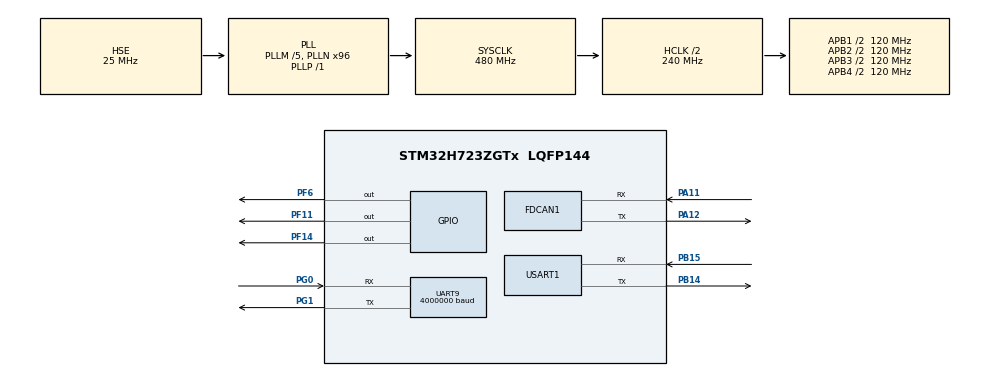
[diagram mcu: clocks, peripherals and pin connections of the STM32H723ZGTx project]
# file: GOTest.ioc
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CORTEX_M7.default_mode_Activation=1
FDCAN1.CalculateBaudRateNominal=1000000
FDCAN1.CalculateTimeBitNominal=1000
FDCAN1.CalculateTimeQuantumNominal=40.0
FDCAN1.ExtFiltersNbr=4
FDCAN1.NominalPrescaler=4
FDCAN1.NominalTimeSeg1=19
FDCAN1.NominalTimeSeg2=5
FDCAN1.RxBuffersNbr=8
FDCAN1.RxFifo0ElmtsNbr=8
FDCAN1.RxFifo1ElmtsNbr=8
FDCAN1.StdFiltersNbr=4
FDCAN1.TxFifoQueueElmtsNbr=8
FREERTOS.Tasks01=defaultTask,24,128,StartDefaultTask,Default,NULL,Dynamic,NULL,NULL
FREERTOS.configENABLE_FPU=1
FREERTOS.configTOTAL_HEAP_SIZE=24576 
Mcu.Family=STM32H7
Mcu.Name=STM32H723ZGTx
Mcu.Package=LQFP144
NVIC.PriorityGroup=NVIC_PRIORITYGROUP_4
NVIC.TIM8_TRG_COM_TIM14_IRQn=true\:15\:0\:false\:false\:true\:false\:false\:true\:true
NVIC.TimeBase=TIM8_TRG_COM_TIM14_IRQn
NVIC.TimeBaseIP=TIM14
PA11.Mode=FDCAN_Activate
PA11.Signal=FDCAN1_RX
PA12.Mode=FDCAN_Activate
PA12.Signal=FDCAN1_TX
PA13(JTMS/SWDIO).Mode=Serial_Wire
PA13(JTMS/SWDIO).Signal=DEBUG_JTMS-SWDIO
PA14(JTCK/SWCLK).Mode=Serial_Wire
PA14(JTCK/SWCLK).Signal=DEBUG_JTCK-SWCLK
PB14.Mode=Asynchronous
PB14.Signal=USART1_TX
PB15.Mode=Asynchronous
PB15.Signal=USART1_RX
PF11.GPIO_Speed=GPIO_SPEED_FREQ_VERY_HIGH
PF11.Signal=GPIO_Output
PF14.GPIO_Speed=GPIO_SPEED_FREQ_VERY_HIGH
PF14.Signal=GPIO_Output
PF6.Signal=GPIO_Output
PG0.Mode=Asynchronous
PG0.Signal=UART9_RX
PG1.Mode=Asynchronous
PG1.Signal=UART9_TX
PH0-OSC_IN.Mode=HSE-External-Oscillator
PH0-OSC_IN.Signal=RCC_OSC_IN
PH1-OSC_OUT.Mode=HSE-External-Oscillator
PH1-OSC_OUT.Signal=RCC_OSC_OUT
ProjectManager.HeapSize=0x200
ProjectManager.StackSize=0x400
ProjectManager.TargetToolchain=MDK-ARM V5.32
RCC.ADCFreq_Value=100000000
RCC.APB1Freq_Value=120000000
RCC.APB2Freq_Value=120000000
RCC.APB3Freq_Value=120000000
RCC.APB4Freq_Value=120000000
RCC.CortexFreq_Value=480000000
RCC.D1PPRE=RCC_APB3_DIV2
RCC.D2PPRE1=RCC_APB1_DIV2
RCC.D2PPRE2=RCC_APB2_DIV2
RCC.D3PPRE=RCC_APB4_DIV2
RCC.DIVM1=5
RCC.DIVM2=2
RCC.DIVN1=96
RCC.DIVN2=16
RCC.DIVN3=4
RCC.DIVP1=1
RCC.FDCANCLockSelection=RCC_FDCANCLKSOURCE_PLL2
RCC.HCLKFreq_Value=240000000
RCC.HPRE=RCC_HCLK_DIV2
RCC.PLLSourceVirtual=RCC_PLLSOURCE_HSE
RCC.SYSCLKFreq_VALUE=480000000
RCC.SYSCLKSource=RCC_SYSCLKSOURCE_PLLCLK
RCC.USBFreq_Value=240000000
UART9.BaudRate=4000000
USART1.VirtualMode-Asynchronous=VM_ASYNC
VP_FREERTOS_VS_CMSIS_V2.Mode=CMSIS_V2
VP_MEMORYMAP_VS_MEMORYMAP.Mode=CurAppReg
VP_SYS_VS_tim14.Mode=TIM14
board=custom

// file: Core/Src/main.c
/* USER CODE BEGIN Header */
/**
  ******************************************************************************
  * @file           : main.c
  * @brief          : Main program body
  ******************************************************************************
  * @attention
  *
  * Copyright (c) 2026 STMicroelectronics.
  * All rights reserved.
  *
  * This software is licensed under terms that can be found in the LICENSE file
  * in the root directory of this software component.
  * If no LICENSE file comes with this software, it is provided AS-IS.
  *
  ******************************************************************************
  */
/* USER CODE END Header */
#include "main.h"
#include "FreeRTOS.h"
#include "cmsis_os2.h"
#include "fdcan.h"
#include "usart.h"
#include "gpio.h"

/* USER CODE BEGIN Includes */
#include "GO8010_driver.h"
#include <stdio.h>
#include <string.h>
#include "gom_protocol.h"
#include "pid.h"
#include "go8010_pos_ctrl.h"
#include "box_flip_task.h"
#include "valve_driver.h"

/* USER CODE END Includes */

/* USER CODE BEGIN PV */
	GO8010_Motor_t motor;
	GO8010_PosCtrl_t ctrl;
	char send_buf[128];
//	//=====翻转状态机新增=====
//
	extern Valve_HandleTypeDef valve_handle;  //你的电磁阀句柄，根据你实际名字修改
	BoxFlipTask flip_task;

//	uint8_t go_180_flag = 1;
//	uint32_t tick_timer = 0;
//
//	#define TEST_ARRIVE_FUNC
//	#ifdef TEST_ARRIVE_FUNC
//	static uint8_t test_stage = 0;
//	static uint32_t test_tick = 0;
//	#endif
//	char send_buf[128];

osThreadId_t FlipBoxTaskHandle;//任务句柄，保存任务创建成功之后返回的ID

//任务属性结构体：描述任务需要什么配置
const osThreadAttr_t FlipBoxTask_attributes = {
  .name = "FlipBoxTask",   //调试名字，RTOS‑RTOS2调试器看的，字符串，不影响运行
  .stack_size = 512 * 4,   //栈大小，512字，翻转任务够用
  .priority = (osPriority_t) osPriorityHigh,//任务优先级
};

/* USER CODE END PV */

void SystemClock_Config(void);
static void MPU_Config(void);
void MX_FREERTOS_Init(void);
/* USER CODE BEGIN PFP */
void StartFlipBoxTask(void *argument);
/* USER CODE END PFP */

int main(void)
{

  /* MPU Configuration--------------------------------------------------------*/
  MPU_Config();

  /* MCU Configuration--------------------------------------------------------*/

  /* Reset of all peripherals, Initializes the Flash interface and the Systick. */
  HAL_Init();

  /* Configure the system clock */
  SystemClock_Config();

  /* Initialize all configured peripherals */
  MX_GPIO_Init();
  MX_USART1_UART_Init();
  MX_UART9_Init();
  MX_FDCAN1_Init();
  /* USER CODE BEGIN 2 */
	GO8010_Motor_Init(&motor, &huart9, GPIOF, GPIO_PIN_14, 1);
	GO8010_PosCtrl_Init(&ctrl);

	//========翻转任务初始化========
	//绑定：位置控制器、电机、电磁阀句柄

	valve_handle.Port = GPIOF;
	valve_handle.Pin  = GPIO_PIN_6;
	BoxFlipTask_Init(&flip_task, &ctrl, &motor, &valve_handle);
//	//可选：修改吸附、释放延时，不调用就用默认250/200
//	BoxFlipTask_SetDelay(&flip_task, 5000, 2000);

	FlipBoxTaskHandle = osThreadNew(StartFlipBoxTask, NULL, &FlipBoxTask_attributes);//创建FreeRTOS翻转任务（只是注册，还没开始跑）

//	HAL_Delay(1000);
	//可以加调试判断：如果返回NULL，代表堆不足，任务创建失败
	if(FlipBoxTaskHandle == NULL)
	{
	  //任务创建失败！堆内存不够，需要在CubeMX调大configTOTAL_HEAP_SIZE
	}

  /* USER CODE END 2 */

  /* Init scheduler */
  osKernelInitialize();  /* Call init function for freertos objects (in cmsis_os2.c) */
  MX_FREERTOS_Init();

  /* Start scheduler */
  osKernelStart();

  /* We should never get here as control is now taken by the scheduler */

  /* Infinite loop */
  while (1)
  {

    /* USER CODE BEGIN 3 */
//	uint32_t tick = HAL_GetTick();

//	//【1】电机位置闭环，必须持续循环调用！刷新real_pos_out，到位判断才生效
//	GO8010_PosCtrl_Run(&ctrl, &motor);
//
//	static uint32_t last_print_tick = 0;
//    if(HAL_GetTick() - last_print_tick >= 200)
//    {
//        last_print_tick = HAL_GetTick();
//        uint8_t arrive = GO8010_PosCtrl_CheckArrived(&ctrl);
//        snprintf(send_buf, sizeof(send_buf),
//            "tar:%.3f | real:%.3f | arrive:%d\r\n",
//            ctrl.pos_target_out, ctrl.real_pos_out, arrive);
//        HAL_UART_Transmit(&huart1, (uint8_t*)send_buf, strlen(send_buf), 20);
//    }
//	//【2】运行翻转状态机引擎
//	BoxFlipTask_Update(&flip_task, tick);
//    BoxFlipHostEvent evt = BoxFlipTask_PopHostEvent(&flip_task);
//
//	static uint8_t task_once = 0;
//	if(!task_once)
//	{
//		BoxFlipTask_Start(&flip_task);
//		task_once = 1;
//	}
//
//	if(evt != BOX_FLIP_EVENT_NONE)
//	{
//		if(evt == BOX_FLIP_EVENT_TASK_FINISH)
//		{
//			//整套翻转完成，可以打印日志
//		}
//	}
}
  /* USER CODE END 3 */
}

void SystemClock_Config(void)
{
  RCC_OscInitTypeDef RCC_OscInitStruct = {0};
  RCC_ClkInitTypeDef RCC_ClkInitStruct = {0};

  /** Supply configuration update enable
  */
  HAL_PWREx_ConfigSupply(PWR_LDO_SUPPLY);

  /** Configure the main internal regulator output voltage
  */
  __HAL_PWR_VOLTAGESCALING_CONFIG(PWR_REGULATOR_VOLTAGE_SCALE0);

  while(!__HAL_PWR_GET_FLAG(PWR_FLAG_VOSRDY)) {}

  /** Initializes the RCC Oscillators according to the specified parameters
  * in the RCC_OscInitTypeDef structure.
  */
  RCC_OscInitStruct.OscillatorType = RCC_OSCILLATORTYPE_HSE;
  RCC_OscInitStruct.HSEState = RCC_HSE_ON;
  RCC_OscInitStruct.PLL.PLLState = RCC_PLL_ON;
  RCC_OscInitStruct.PLL.PLLSource = RCC_PLLSOURCE_HSE;
  RCC_OscInitStruct.PLL.PLLM = 5;
  RCC_OscInitStruct.PLL.PLLN = 96;
  RCC_OscInitStruct.PLL.PLLP = 1;
  RCC_OscInitStruct.PLL.PLLQ = 2;
  RCC_OscInitStruct.PLL.PLLR = 2;
  RCC_OscInitStruct.PLL.PLLRGE = RCC_PLL1VCIRANGE_2;
  RCC_OscInitStruct.PLL.PLLVCOSEL = RCC_PLL1VCOWIDE;
  RCC_OscInitStruct.PLL.PLLFRACN = 0;
  if (HAL_RCC_OscConfig(&RCC_OscInitStruct) != HAL_OK)
  {
    Error_Handler();
  }

  /** Initializes the CPU, AHB and APB buses clocks
  */
  RCC_ClkInitStruct.ClockType = RCC_CLOCKTYPE_HCLK|RCC_CLOCKTYPE_SYSCLK
                              |RCC_CLOCKTYPE_PCLK1|RCC_CLOCKTYPE_PCLK2
                              |RCC_CLOCKTYPE_D3PCLK1|RCC_CLOCKTYPE_D1PCLK1;
  RCC_ClkInitStruct.SYSCLKSource = RCC_SYSCLKSOURCE_PLLCLK;
  RCC_ClkInitStruct.SYSCLKDivider = RCC_SYSCLK_DIV1;
  RCC_ClkInitStruct.AHBCLKDivider = RCC_HCLK_DIV2;
  RCC_ClkInitStruct.APB3CLKDivider = RCC_APB3_DIV2;
  RCC_ClkInitStruct.APB1CLKDivider = RCC_APB1_DIV2;
  RCC_ClkInitStruct.APB2CLKDivider = RCC_APB2_DIV2;
  RCC_ClkInitStruct.APB4CLKDivider = RCC_APB4_DIV2;

  if (HAL_RCC_ClockConfig(&RCC_ClkInitStruct, FLASH_LATENCY_3) != HAL_OK)
  {
    Error_Handler();
  }
}

/* USER CODE BEGIN 4 */

/**
 * @brief 翻转箱子RTOS任务外壳，周期5ms
 */
void StartFlipBoxTask(void *argument)//RTOS任务包装
{
   (void)argument;
  static uint8_t first_run = 1;
  uint32_t tick;
  BoxFlipHostEvent evt;

  for(;;)
  {
    if(first_run)
    {
        BoxFlipTask_Start(&flip_task);
        first_run = 0;
    }

    tick = HAL_GetTick();
    GO8010_PosCtrl_Run(&ctrl, &motor);
    BoxFlipTask_Update(&flip_task, tick);

    //取出事件
    evt = BoxFlipTask_PopHostEvent(&flip_task);
    //如果检测到整套任务完成，延时一小段，再次启动翻转
    if(evt == BOX_FLIP_EVENT_TASK_FINISH)
    {
        osDelay(1000);   //间隔1秒后再次执行，可修改
        BoxFlipTask_Start(&flip_task);
    }

    osDelay(5);
  }
}

/* USER CODE END 4 */

 /* MPU Configuration */

void MPU_Config(void)
{
  MPU_Region_InitTypeDef MPU_InitStruct = {0};

  /* Disables the MPU */
  HAL_MPU_Disable();

  /** Initializes and configures the Region and the memory to be protected
  */
  MPU_InitStruct.Enable = MPU_REGION_ENABLE;
  MPU_InitStruct.Number = MPU_REGION_NUMBER0;
  MPU_InitStruct.BaseAddress = 0x0;
  MPU_InitStruct.Size = MPU_REGION_SIZE_4GB;
  MPU_InitStruct.SubRegionDisable = 0x87;
  MPU_InitStruct.TypeExtField = MPU_TEX_LEVEL0;
  MPU_InitStruct.AccessPermission = MPU_REGION_NO_ACCESS;
  MPU_InitStruct.DisableExec = MPU_INSTRUCTION_ACCESS_DISABLE;
  MPU_InitStruct.IsShareable = MPU_ACCESS_SHAREABLE;
  MPU_InitStruct.IsCacheable = MPU_ACCESS_NOT_CACHEABLE;
  MPU_InitStruct.IsBufferable = MPU_ACCESS_NOT_BUFFERABLE;

  HAL_MPU_ConfigRegion(&MPU_InitStruct);
  /* Enables the MPU */
  HAL_MPU_Enable(MPU_PRIVILEGED_DEFAULT);

}

void HAL_TIM_PeriodElapsedCallback(TIM_HandleTypeDef *htim)
{
  if (htim->Instance == TIM14)
  {
    HAL_IncTick();
  }
}

void Error_Handler(void)
{
  __disable_irq();
  while (1)
  {
  }
}
